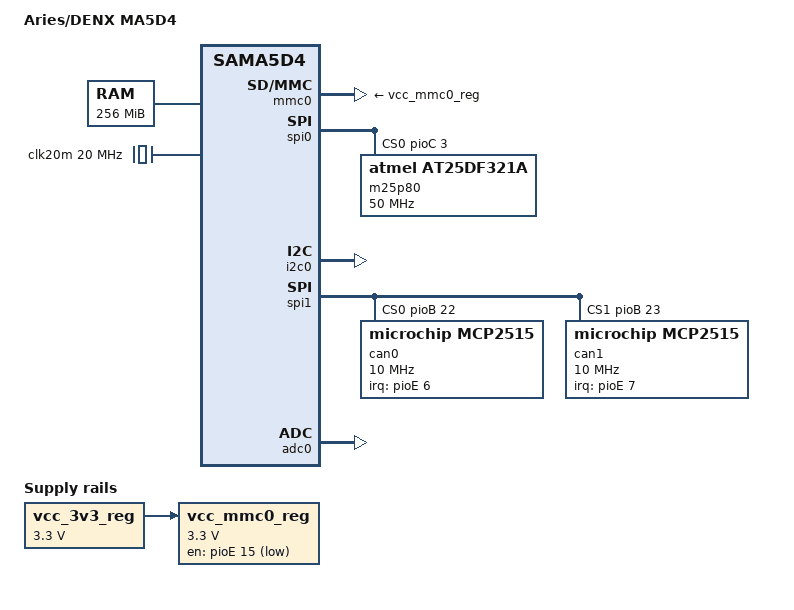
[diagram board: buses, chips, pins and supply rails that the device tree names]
/*
 * Copyright (C) 2015 Marek Vasut <marex@denx.de>
 *
 * The code contained herein is licensed under the GNU General Public
 * License. You may obtain a copy of the GNU General Public License
 * Version 2 or later at the following locations:
 *
 * http://www.opensource.org/licenses/gpl-license.html
 * http://www.gnu.org/copyleft/gpl.html
 */

#include "sama5d4.dtsi"

/ {
	model = "Aries/DENX MA5D4";
	compatible = "aries,ma5d4", "denx,ma5d4", "atmel,sama5d4", "atmel,sama5";

	memory {
		reg = <0x20000000 0x10000000>;
	};

	clocks {
		slow_xtal {
			clock-frequency = <32768>;
		};

		main_xtal {
			clock-frequency = <12000000>;
		};

		clk20m: clk20m {
			compatible = "fixed-clock";
			#clock-cells = <0>;
			clock-frequency = <20000000>;
			clock-output-names = "clk20m";
		};
	};

	ahb {
		apb {
			mmc0: mmc@f8000000 {
				pinctrl-names = "default";
				pinctrl-0 = <&pinctrl_mmc0_clk_cmd_dat0 &pinctrl_mmc0_dat1_3 &pinctrl_mmc0_dat4_7>;
				vmmc-supply = <&vcc_mmc0_reg>;
				vqmmc-supply = <&vcc_3v3_reg>;
				status = "okay";
				slot@0 {
					reg = <0>;
					bus-width = <8>;
					broken-cd;
				};
			};

			spi0: spi@f8010000 {
				cs-gpios = <&pioC 3 0>, <0>, <0>, <0>;
				status = "okay";

				m25p80@0 {
					compatible = "atmel,at25df321a";
					spi-max-frequency = <50000000>;
					reg = <0>;
				};
			};

			i2c0: i2c@f8014000 {
				status = "okay";
			};

			spi1: spi@fc018000 {
				cs-gpios = <&pioB 22 0>, <&pioB 23 0>, <0>, <0>;
				status = "okay";

				can0: can@0 {
					compatible = "microchip,mcp2515";
					reg = <0>;
					clocks = <&clk20m>;
					interrupt-parent = <&pioE>;
					interrupts = <6 GPIO_ACTIVE_LOW>;
					spi-max-frequency = <10000000>;
				};

				can1: can@1 {
					compatible = "microchip,mcp2515";
					reg = <1>;
					clocks = <&clk20m>;
					interrupt-parent = <&pioE>;
					interrupts = <7 GPIO_ACTIVE_LOW>;
					spi-max-frequency = <10000000>;
				};
			};

			adc0: adc@fc034000 {
				pinctrl-names = "default";
				pinctrl-0 = <
					/* external trigger conflicts with USBA_VBUS */
					&pinctrl_adc0_ad0
					&pinctrl_adc0_ad1
					&pinctrl_adc0_ad2
					&pinctrl_adc0_ad3
					&pinctrl_adc0_ad4
					>;
				atmel,adc-vref = <3300>;
				status = "okay";
			};

			watchdog@fc068640 {
				status = "okay";
			};
		};
	};

	vcc_3v3_reg: fixedregulator_3v3 {
		compatible = "regulator-fixed";
		regulator-name = "VCC 3V3";
		regulator-min-microvolt = <3300000>;
		regulator-max-microvolt = <3300000>;
		regulator-boot-on;
		regulator-always-on;
	};

	vcc_mmc0_reg: fixedregulator_mmc0 {
		compatible = "regulator-fixed";
		gpio = <&pioE 15 GPIO_ACTIVE_HIGH>;
		regulator-name = "RST_n MCI0";
		regulator-min-microvolt = <3300000>;
		regulator-max-microvolt = <3300000>;
		vin-supply = <&vcc_3v3_reg>;
		regulator-boot-on;
	};
};
